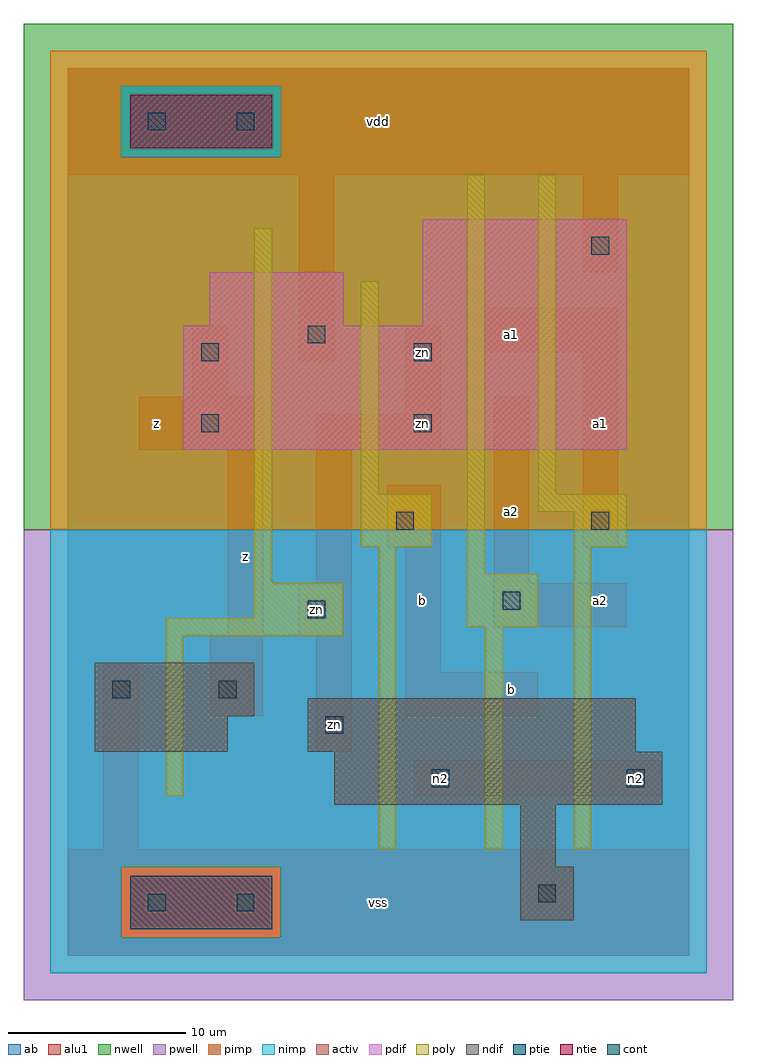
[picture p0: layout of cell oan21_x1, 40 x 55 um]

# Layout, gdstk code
import gdstk
lib = gdstk.Library(unit=1e-6, precision=1e-09)
def R(c, l, rs):  # rectangles x0, y0, x1, y1
    for r in rs: c.add(gdstk.rectangle(r[:2], r[2:], *l))
ndif = (3, 0)
pdif = (4, 0)
ntie = (5, 0)
ptie = (6, 0)
cont = (25, 0)
pwell = (41, 0)
nwell = (42, 0)
activ = (43, 0)
pimp = (44, 0)
nimp = (45, 0)
poly = (46, 0)
alu1 = (49, 0)
ab = (63, 0)

oan21_x1 = lib.new_cell('oan21_x1')
R(oan21_x1, ndif, [(25.5,2,28.5,5), (25.5,5,27.5,8.5), (15,8.5,33.5,11.5), (1.5,11.5,9,13.5), (13.5,11.5,32,14.5), (1.5,13.5,10.5,16.5)])
R(oan21_x1, pdif, [(6.5,28.5,31.5,35.5), (8,35.5,15.5,38.5), (20,35.5,31.5,41.5)])
R(oan21_x1, ntie, [(3.5,45.5,11.5,48.5)])
R(oan21_x1, ptie, [(3.5,1.5,11.5,4.5)])
R(oan21_x1, cont, [(4.5,2.5,5.5,3.5), (9.5,2.5,10.5,3.5), (26.5,3,27.5,4), (20.5,9.5,21.5,10.5), (31.5,9.5,32.5,10.5), (14.5,12.5,15.5,13.5), (2.5,14.5,3.5,15.5), (8.5,14.5,9.5,15.5), (13.5,19,14.5,20), (24.5,19.5,25.5,20.5), (18.5,24,19.5,25), (29.5,24,30.5,25), (7.5,29.5,8.5,30.5), (19.5,29.5,20.5,30.5), (7.5,33.5,8.5,34.5), (19.5,33.5,20.5,34.5), (13.5,34.5,14.5,35.5), (29.5,39.5,30.5,40.5), (4.5,46.5,5.5,47.5), (9.5,46.5,10.5,47.5)])
R(oan21_x1, pwell, [(-2.5,-2.5,37.5,24)])
R(oan21_x1, nwell, [(-2.5,24,37.5,52.5)])
R(oan21_x1, activ, [(3.5,1.5,11.5,4.5), (25.5,2,28.5,5), (25.5,5,27.5,8.5), (15,8.5,33.5,11.5), (1.5,11.5,9,13.5), (13.5,11.5,32,14.5), (1.5,13.5,10.5,16.5), (6.5,28.5,31.5,35.5), (8,35.5,15.5,38.5), (20,35.5,31.5,41.5), (3.5,45.5,11.5,48.5)])
R(oan21_x1, pimp, [(3,1,12,5), (-1,24,36,45), (-1,45,3,49), (12,45,36,49), (-1,49,36,51)])
R(oan21_x1, nimp, [(-1,-1,36,1), (-1,1,3,5), (12,1,36,5), (-1,5,36,24), (3,45,12,49)])
R(oan21_x1, poly, [(17.5,6,18.5,23), (23.5,6,24.5,18.5), (28.5,6,29.5,23), (5.5,9,6.5,18), (5.5,18,15.5,19), (22.5,18.5,26.5,21.5), (10.5,19,15.5,21), (10.5,21,11.5,41), (22.5,21.5,23.5,44), (16.5,23,20.5,26), (28.5,23,31.5,25), (26.5,25,31.5,26), (16.5,26,17.5,38), (26.5,26,27.5,44)])
R(oan21_x1, alu1, [(0,0,35,6), (0,0,35,6), (2,6,4,16.5), (2,6,4,16.5), (19.5,9,33.5,11), (19.5,9,33.5,11), (14,11.5,16,18), (14,11.5,16,18), (8,13.5,11,18), (8,13.5,11,18), (19,13.5,26.5,16), (19,13.5,26.5,16), (19,16,21,23), (19,16,21,23), (9,18,11,28.5), (9,18,11,28.5), (13,18,16,21), (13,18,16,21), (24,18.5,31.5,21), (24,18.5,31.5,21), (14,21,16,28.5), (14,21,16,28.5), (24,21,26,31.5), (24,21,26,31.5), (18,23,21,26.5), (18,23,21,26.5), (29,23,31,34), (29,23,31,34), (4,28.5,11,31.5), (4,28.5,11,31.5), (14,28.5,21,30.5), (14,28.5,21,30.5), (19,30.5,21,35.5), (19,30.5,21,35.5), (7,31.5,9,35.5), (7,31.5,9,35.5), (13,33.5,15,44), (13,33.5,15,44), (23.5,34,31,36.5), (23.5,34,31,36.5), (29,38.5,31,44), (29,38.5,31,44), (0,44,35,50), (0,44,35,50)])
R(oan21_x1, ab, [(0,0,35,50)])
oan21_x1.add(gdstk.Label('n2', (21,10), layer=49, texttype=0))
oan21_x1.add(gdstk.Label('zn', (15,13), layer=49, texttype=0))
oan21_x1.add(gdstk.Label('zn', (14,19.5), layer=49, texttype=0))
oan21_x1.add(gdstk.Label('zn', (20,30), layer=49, texttype=0))
oan21_x1.add(gdstk.Label('zn', (20,34), layer=49, texttype=0))
oan21_x1.add(gdstk.Label('n2', (32,10), layer=49, texttype=0))
oan21_x1.add(gdstk.Label('z', (5,30), layer=49, texttype=0))
oan21_x1.add(gdstk.Label('z', (10,22.5), layer=49, texttype=0))
oan21_x1.add(gdstk.Label('vss', (17.5,3), layer=49, texttype=0))
oan21_x1.add(gdstk.Label('b', (20,20), layer=49, texttype=0))
oan21_x1.add(gdstk.Label('b', (25,15), layer=49, texttype=0))
oan21_x1.add(gdstk.Label('a2', (25,25), layer=49, texttype=0))
oan21_x1.add(gdstk.Label('a1', (25,35), layer=49, texttype=0))
oan21_x1.add(gdstk.Label('vdd', (17.5,47), layer=49, texttype=0))
oan21_x1.add(gdstk.Label('a2', (30,20), layer=49, texttype=0))
oan21_x1.add(gdstk.Label('a1', (30,30), layer=49, texttype=0))

lib.write_gds('oan21_x1.gds')
